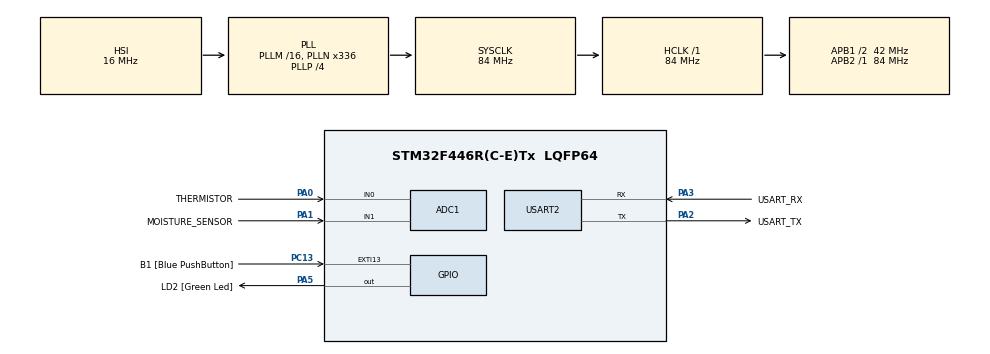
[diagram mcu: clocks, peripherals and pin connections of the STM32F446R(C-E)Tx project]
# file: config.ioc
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ADC1.Channel-0\#ChannelRegularConversion=ADC_CHANNEL_0
ADC1.NbrOfConversionFlag=1
ADC1.Rank-0\#ChannelRegularConversion=1
ADC1.SamplingTime-0\#ChannelRegularConversion=ADC_SAMPLETIME_3CYCLES
ADC1.master=1
Dma.ADC1.0.Direction=DMA_PERIPH_TO_MEMORY
Dma.ADC1.0.FIFOMode=DMA_FIFOMODE_DISABLE
Dma.ADC1.0.Instance=DMA2_Stream0
Dma.ADC1.0.MemDataAlignment=DMA_MDATAALIGN_HALFWORD
Dma.ADC1.0.MemInc=DMA_MINC_ENABLE
Dma.ADC1.0.Mode=DMA_CIRCULAR
Dma.ADC1.0.PeriphDataAlignment=DMA_PDATAALIGN_HALFWORD
Dma.ADC1.0.PeriphInc=DMA_PINC_DISABLE
Dma.ADC1.0.Priority=DMA_PRIORITY_LOW
Dma.Request0=ADC1
Mcu.Family=STM32F4
Mcu.Name=STM32F446R(C-E)Tx
Mcu.Package=LQFP64
NVIC.DMA2_Stream0_IRQn=true\:0\:0\:false\:false\:true\:false\:true\:true
NVIC.PriorityGroup=NVIC_PRIORITYGROUP_0
PA0-WKUP.GPIO_Label=THERMISTOR
PA0-WKUP.Signal=ADCx_IN0
PA1.GPIO_Label=MOISTURE_SENSOR
PA1.Signal=ADCx_IN1
PA13.GPIO_Label=TMS
PA13.Mode=Serial_Wire
PA13.Signal=SYS_JTMS-SWDIO
PA14.GPIO_Label=TCK
PA14.Mode=Serial_Wire
PA14.Signal=SYS_JTCK-SWCLK
PA2.GPIO_Label=USART_TX
PA2.Mode=Asynchronous
PA2.Signal=USART2_TX
PA3.GPIO_Label=USART_RX
PA3.Mode=Asynchronous
PA3.Signal=USART2_RX
PA5.GPIO_Label=LD2 [Green Led]
PA5.Signal=GPIO_Output
PB3.GPIO_Label=SWO
PB3.Signal=SYS_JTDO-SWO
PC13.GPIO_Label=B1 [Blue PushButton]
PC13.GPIO_ModeDefaultEXTI=GPIO_MODE_IT_FALLING
PC13.Signal=GPXTI13
PC14-OSC32_IN.Mode=LSE-External-Oscillator
PC14-OSC32_IN.Signal=RCC_OSC32_IN
PC15-OSC32_OUT.Mode=LSE-External-Oscillator
PC15-OSC32_OUT.Signal=RCC_OSC32_OUT
PH0-OSC_IN.Mode=HSE-External-Oscillator
PH0-OSC_IN.Signal=RCC_OSC_IN
PH1-OSC_OUT.Mode=HSE-External-Oscillator
PH1-OSC_OUT.Signal=RCC_OSC_OUT
ProjectManager.HeapSize=0x200
ProjectManager.StackSize=0x400
ProjectManager.TargetToolchain=EWARM V8.50
RCC.48MHZClocksFreq_Value=84000000
RCC.AHBFreq_Value=84000000
RCC.APB1CLKDivider=RCC_HCLK_DIV2
RCC.APB1Freq_Value=42000000
RCC.APB1TimFreq_Value=84000000
RCC.APB2Freq_Value=84000000
RCC.APB2TimFreq_Value=84000000
RCC.CortexFreq_Value=84000000
RCC.FLatency-AdvancedSettings=FLASH_LATENCY_2
RCC.HCLKFreq_Value=84000000
RCC.HSE_VALUE=8000000
RCC.HSI_VALUE=16000000
RCC.PLLN=336
RCC.PLLP=RCC_PLLP_DIV4
RCC.SYSCLKFreq_VALUE=84000000
RCC.SYSCLKSource=RCC_SYSCLKSOURCE_PLLCLK
RCC.USBFreq_Value=168000000
RCC.VCOOutputFreq_Value=336000000
SH.ADCx_IN0.0=ADC1_IN0,IN0
SH.ADCx_IN1.0=ADC1_IN1,IN1
USART2.VirtualMode=VM_ASYNC
board=NUCLEO-F446RE

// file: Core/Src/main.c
/* USER CODE BEGIN Header */
/**
  ******************************************************************************
  * @file           : main.c
  * @brief          : Main program body
  ******************************************************************************
  * @attention
  *
  * Copyright (c) 2024 STMicroelectronics.
  * All rights reserved.
  *
  * This software is licensed under terms that can be found in the LICENSE file
  * in the root directory of this software component.
  * If no LICENSE file comes with this software, it is provided AS-IS.
  *
  ******************************************************************************
  */
/* USER CODE END Header */
#include "main.h"

/* USER CODE BEGIN Includes */
#include <stdint.h>
#include <string.h>
#include <stdio.h>
/* USER CODE END Includes */

ADC_HandleTypeDef hadc1;
DMA_HandleTypeDef hdma_adc1;

UART_HandleTypeDef huart2;

/* USER CODE BEGIN PV */
uint16_t adc_buffer[2];
/* USER CODE END PV */

void SystemClock_Config(void);
static void MX_GPIO_Init(void);
static void MX_DMA_Init(void);
static void MX_ADC1_Init(void);
static void MX_USART2_UART_Init(void);

/* USER CODE BEGIN 0 */
float getVoltage(uint32_t channel) {
    return adc_buffer[channel]/4095 * 3.3;
}

float getTemp() {

}

float getMoisture() {

}
/* USER CODE END 0 */

int main(void)
{

  /* MCU Configuration--------------------------------------------------------*/

  /* Reset of all peripherals, Initializes the Flash interface and the Systick. */
  HAL_Init();

  /* Configure the system clock */
  SystemClock_Config();

  /* Initialize all configured peripherals */
  MX_GPIO_Init();
  MX_DMA_Init();
  MX_ADC1_Init();
  MX_USART2_UART_Init();
  /* USER CODE BEGIN 2 */
  HAL_ADC_Start_DMA(&hadc1, adc_buffer, 2);
  char thermistor_reading[20];
  char moisture_reading[20];
  /* USER CODE END 2 */

  /* Infinite loop */
    while (1) {

    /* USER CODE BEGIN 3 */
        uint16_t thermistor_val = adc_buffer[0];
        uint16_t moisture_val = adc_buffer[1];
        sprintf(thermistor_reading, "%u\r\n", thermistor_val);
        sprintf(moisture_reading, "%u\r\n", moisture_val);
        HAL_UART_Transmit(&huart2, (uint32_t*)thermistor_reading, strlen(thermistor_reading), HAL_MAX_DELAY);
        HAL_UART_Transmit(&huart2, (uint32_t*)moisture_reading, strlen(moisture_reading), HAL_MAX_DELAY);
        HAL_Delay(500);
    }
  /* USER CODE END 3 */
}

void SystemClock_Config(void)
{
  RCC_OscInitTypeDef RCC_OscInitStruct = {0};
  RCC_ClkInitTypeDef RCC_ClkInitStruct = {0};

  /** Configure the main internal regulator output voltage
  */
  __HAL_RCC_PWR_CLK_ENABLE();
  __HAL_PWR_VOLTAGESCALING_CONFIG(PWR_REGULATOR_VOLTAGE_SCALE3);

  /** Initializes the RCC Oscillators according to the specified parameters
  * in the RCC_OscInitTypeDef structure.
  */
  RCC_OscInitStruct.OscillatorType = RCC_OSCILLATORTYPE_HSI;
  RCC_OscInitStruct.HSIState = RCC_HSI_ON;
  RCC_OscInitStruct.HSICalibrationValue = RCC_HSICALIBRATION_DEFAULT;
  RCC_OscInitStruct.PLL.PLLState = RCC_PLL_ON;
  RCC_OscInitStruct.PLL.PLLSource = RCC_PLLSOURCE_HSI;
  RCC_OscInitStruct.PLL.PLLM = 16;
  RCC_OscInitStruct.PLL.PLLN = 336;
  RCC_OscInitStruct.PLL.PLLP = RCC_PLLP_DIV4;
  RCC_OscInitStruct.PLL.PLLQ = 2;
  RCC_OscInitStruct.PLL.PLLR = 2;
  if (HAL_RCC_OscConfig(&RCC_OscInitStruct) != HAL_OK)
  {
    Error_Handler();
  }

  /** Initializes the CPU, AHB and APB buses clocks
  */
  RCC_ClkInitStruct.ClockType = RCC_CLOCKTYPE_HCLK|RCC_CLOCKTYPE_SYSCLK
                              |RCC_CLOCKTYPE_PCLK1|RCC_CLOCKTYPE_PCLK2;
  RCC_ClkInitStruct.SYSCLKSource = RCC_SYSCLKSOURCE_PLLCLK;
  RCC_ClkInitStruct.AHBCLKDivider = RCC_SYSCLK_DIV1;
  RCC_ClkInitStruct.APB1CLKDivider = RCC_HCLK_DIV2;
  RCC_ClkInitStruct.APB2CLKDivider = RCC_HCLK_DIV1;

  if (HAL_RCC_ClockConfig(&RCC_ClkInitStruct, FLASH_LATENCY_2) != HAL_OK)
  {
    Error_Handler();
  }
}

static void MX_ADC1_Init(void)
{

  ADC_ChannelConfTypeDef sConfig = {0};

  /** Configure the global features of the ADC (Clock, Resolution, Data Alignment and number of conversion)
  */
  hadc1.Instance = ADC1;
  hadc1.Init.ClockPrescaler = ADC_CLOCK_SYNC_PCLK_DIV4;
  hadc1.Init.Resolution = ADC_RESOLUTION_12B;
  hadc1.Init.ScanConvMode = DISABLE;
  hadc1.Init.ContinuousConvMode = DISABLE;
  hadc1.Init.DiscontinuousConvMode = DISABLE;
  hadc1.Init.ExternalTrigConvEdge = ADC_EXTERNALTRIGCONVEDGE_NONE;
  hadc1.Init.ExternalTrigConv = ADC_SOFTWARE_START;
  hadc1.Init.DataAlign = ADC_DATAALIGN_RIGHT;
  hadc1.Init.NbrOfConversion = 1;
  hadc1.Init.DMAContinuousRequests = DISABLE;
  hadc1.Init.EOCSelection = ADC_EOC_SINGLE_CONV;
  if (HAL_ADC_Init(&hadc1) != HAL_OK)
  {
    Error_Handler();
  }

  /** Configure for the selected ADC regular channel its corresponding rank in the sequencer and its sample time.
  */
  sConfig.Channel = ADC_CHANNEL_0;
  sConfig.Rank = 1;
  sConfig.SamplingTime = ADC_SAMPLETIME_3CYCLES;
  if (HAL_ADC_ConfigChannel(&hadc1, &sConfig) != HAL_OK)
  {
    Error_Handler();
  }

}

static void MX_USART2_UART_Init(void)
{

  huart2.Instance = USART2;
  huart2.Init.BaudRate = 115200;
  huart2.Init.WordLength = UART_WORDLENGTH_8B;
  huart2.Init.StopBits = UART_STOPBITS_1;
  huart2.Init.Parity = UART_PARITY_NONE;
  huart2.Init.Mode = UART_MODE_TX_RX;
  huart2.Init.HwFlowCtl = UART_HWCONTROL_NONE;
  huart2.Init.OverSampling = UART_OVERSAMPLING_16;
  if (HAL_UART_Init(&huart2) != HAL_OK)
  {
    Error_Handler();
  }

}

static void MX_DMA_Init(void)
{

  /* DMA controller clock enable */
  __HAL_RCC_DMA2_CLK_ENABLE();

  /* DMA interrupt init */
  /* DMA2_Stream0_IRQn interrupt configuration */
  HAL_NVIC_SetPriority(DMA2_Stream0_IRQn, 0, 0);
  HAL_NVIC_EnableIRQ(DMA2_Stream0_IRQn);

}

static void MX_GPIO_Init(void)
{
  GPIO_InitTypeDef GPIO_InitStruct = {0};

  /* GPIO Ports Clock Enable */
  __HAL_RCC_GPIOC_CLK_ENABLE();
  __HAL_RCC_GPIOH_CLK_ENABLE();
  __HAL_RCC_GPIOA_CLK_ENABLE();
  __HAL_RCC_GPIOB_CLK_ENABLE();

  /*Configure GPIO pin Output Level */
  HAL_GPIO_WritePin(LD2_GPIO_Port, LD2_Pin, GPIO_PIN_RESET);

  /*Configure GPIO pin : B1_Pin */
  GPIO_InitStruct.Pin = B1_Pin;
  GPIO_InitStruct.Mode = GPIO_MODE_IT_FALLING;
  GPIO_InitStruct.Pull = GPIO_NOPULL;
  HAL_GPIO_Init(B1_GPIO_Port, &GPIO_InitStruct);

  /*Configure GPIO pin : LD2_Pin */
  GPIO_InitStruct.Pin = LD2_Pin;
  GPIO_InitStruct.Mode = GPIO_MODE_OUTPUT_PP;
  GPIO_InitStruct.Pull = GPIO_NOPULL;
  GPIO_InitStruct.Speed = GPIO_SPEED_FREQ_LOW;
  HAL_GPIO_Init(LD2_GPIO_Port, &GPIO_InitStruct);

}

void Error_Handler(void)
{
  __disable_irq();
  while (1)
  {
  }
}
